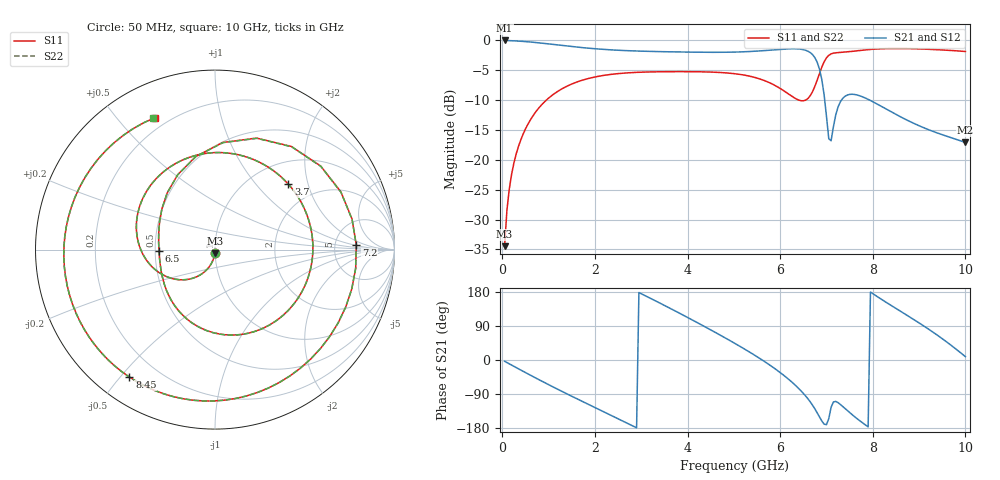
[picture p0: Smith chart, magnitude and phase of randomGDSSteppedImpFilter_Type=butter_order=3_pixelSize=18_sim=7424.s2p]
! freq	dB(S11)	phase(S11)	dB(S12)	phase(S12)
!  dB(S21)	phase(S21)	dB(S22)	phase(S22)
!S-par simulation data
#  GHz  S  DB  R 50
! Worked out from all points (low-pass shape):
!   200 points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, 50 MHz to 10 GHz, reference 50 ohm
!   highest |S21| = -0.01 dB at 50 MHz (marker M1); lowest = -17.1 dB at 10 GHz (marker M2)
!   |S21| within 3 dB of the highest: start of sweep to 6.758 GHz
!   lowest |S11| = -34.4 dB at 50 MHz (marker M3), VSWR 1.04, Z = 49.9 - j1.89 ohm
!   |S11| at or under -10 dB: start of sweep to 950.6 MHz; 6.407 GHz to 6.549 GHz (142.2 MHz wide, 2.19 % of centre)
!   |S22| runs from -34.5 to -1.4 dB; largest |S21 - S12| = 0
!   S11 on the Smith chart (normalised r, x): 50 MHz: 1.00, -0.04; 3.7 GHz: 1.45, +1.51; 6.5 GHz: 0.52, -0.01; 7.2 GHz: 8.26, +1.15; 8.45 GHz: 0.10, -0.53; 10 GHz: 0.15, +0.63
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0.05  -34.45 -93.2  -0.01 -3.4  -0.01 -3.4  -34.46 -93.2
0.2  -22.46 -103.6  -0.05 -13.4  -0.05 -13.4  -22.46 -103.7
0.5  -14.83 -123.8  -0.19 -33.2  -0.19 -33.2  -14.83 -123.8
1.1  -9.04 -161.8  -0.67 -71.3  -0.67 -71.3  -9.04 -162.0
1.75  -6.61 158.9  -1.22 -110.6  -1.22 -110.6  -6.61 158.7
2.6  -5.49 108.8  -1.68 -160.9  -1.68 -160.9  -5.49 108.4
3.4  -5.25 60.4  -1.87 150.4  -1.87 150.4  -5.25 59.9
3.7  -5.23 41.8  -1.92 131.5  -1.92 131.5  -5.23 41.2
4.4  -5.27 -3.2  -1.99 86.2  -1.99 86.2  -5.27 -3.7
5.05  -5.60 -46.9  -1.95 41.9  -1.95 41.9  -5.60 -47.3
5.85  -7.38 -107.5  -1.58 -19.7  -1.58 -19.7  -7.37 -107.7
6.5  -10.11 -178.8  -1.55 -87.9  -1.55 -87.9  -10.11 -178.6
6.7  -8.56 142.4  -2.37 -119.4  -2.37 -119.4  -8.56 142.5
6.85  -5.52 101.7  -4.82 -150.3  -4.82 -150.3  -5.53 101.6
6.95  -3.57 69.6  -9.14 -169.4  -9.14 -169.4  -3.57 69.3
7.05  -2.49 38.4  -16.46 -154.7  -16.46 -154.7  -2.49 38.1
7.2  -2.07 1.9  -12.48 -109.3  -12.48 -109.3  -2.07 1.6
7.7  -1.70 -64.2  -9.22 -158.6  -9.22 -158.6  -1.70 -64.5
8.35  -1.37 -116.8  -11.75 147.5  -11.75 147.5  -1.36 -116.9
8.45  -1.36 -123.9  -12.17 139.9  -12.17 139.9  -1.35 -124.0
9.3  -1.52 175.1  -15.23 73.5  -15.23 73.5  -1.51 175.4
10  -1.85 114.5  -17.08 8.9  -17.08 8.9  -1.85 115.3
